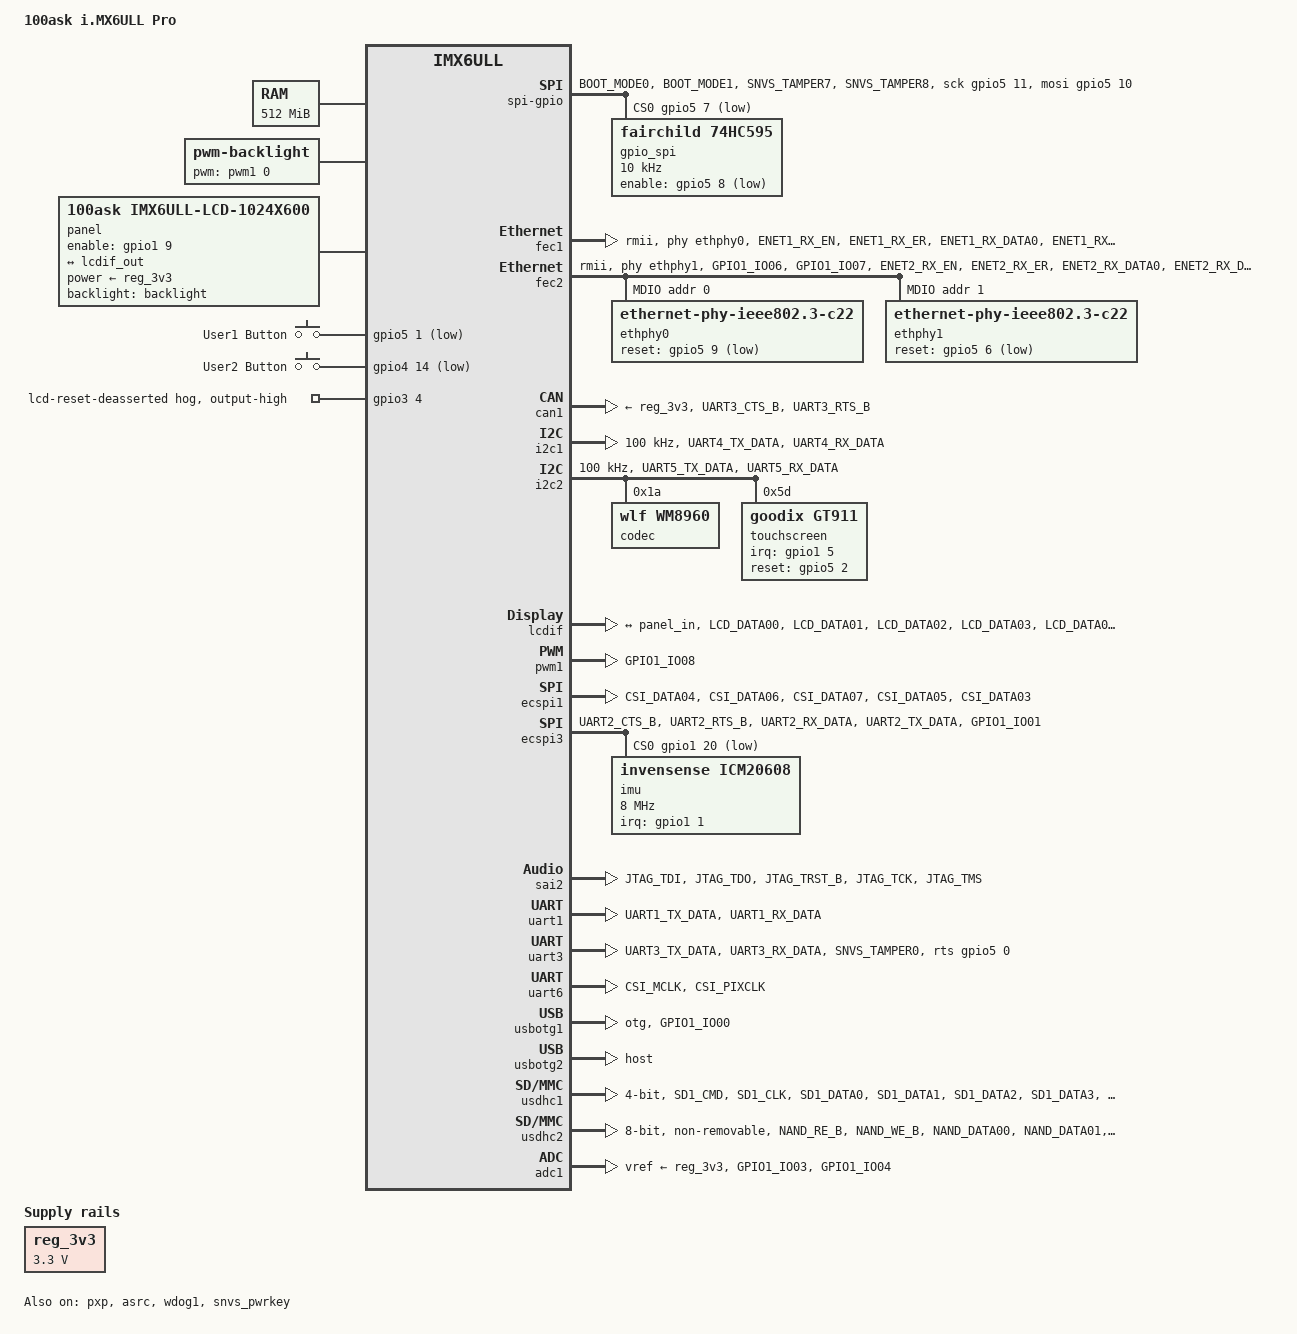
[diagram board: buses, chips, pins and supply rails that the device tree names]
// SPDX-License-Identifier: GPL-2.0-only
/dts-v1/;

#include "imx6ull.dtsi"

/ {
	model = "100ask i.MX6ULL Pro";
	compatible = "100ask,imx6ull-pro", "fsl,imx6ull";

	chosen {
		stdout-path = "serial0:1500000n8";
	};

	memory@80000000 {
		device_type = "memory";
		reg = <0x80000000 0x20000000>;
	};

	reg_3v3: regulator-3v3 {
		compatible = "regulator-fixed";
		regulator-name = "board-3v3";
		regulator-min-microvolt = <3300000>;
		regulator-max-microvolt = <3300000>;
		regulator-always-on;
	};

	backlight: backlight {
		compatible = "pwm-backlight";
		pwms = <&pwm1 0 1000 0>;
		brightness-levels = <0 1 2 3 4 5 6 8 10>;
		default-brightness-level = <8>;
	};

	/* Assembly identity; panel manufacturer/model is not yet known. */
	panel: panel {
		compatible = "100ask,imx6ull-lcd-1024x600", "panel-dpi";
		power-supply = <&reg_3v3>;
		backlight = <&backlight>;
		pinctrl-names = "default";
		pinctrl-0 = <&pinctrl_lcd_enable>;
		enable-gpios = <&gpio1 9 GPIO_ACTIVE_HIGH>;
		panel-timing {
			clock-frequency = <50000000>;
			hactive = <1024>;
			vactive = <600>;
			hfront-porch = <160>;
			hback-porch = <140>;
			hsync-len = <20>;
			vfront-porch = <12>;
			vback-porch = <20>;
			vsync-len = <3>;
			hsync-active = <0>;
			vsync-active = <0>;
			de-active = <1>;
			pixelclk-active = <0>;
		};
		port {
			panel_in: endpoint {
				remote-endpoint = <&lcdif_out>;
			};
		};
	};

	leds {
		compatible = "gpio-leds";
		pinctrl-names = "default";
		pinctrl-0 = <&pinctrl_leds>;
		/* Preserve the surveyed vendor policy. */
		status = "disabled";
		led-cpu {
			label = "cpu";
			gpios = <&gpio5 3 GPIO_ACTIVE_LOW>;
			linux,default-trigger = "heartbeat";
		};
	};

	gpio-keys {
		compatible = "gpio-keys";
		pinctrl-names = "default";
		pinctrl-0 = <&pinctrl_key1 &pinctrl_key2>;
		key-1 {
			label = "User1 Button";
			gpios = <&gpio5 1 GPIO_ACTIVE_LOW>;
			linux,code = <KEY_1>;
			wakeup-source;
		};
		key-2 {
			label = "User2 Button";
			gpios = <&gpio4 14 GPIO_ACTIVE_LOW>;
			linux,code = <KEY_2>;
			wakeup-source;
		};
	};

	sound {
		compatible = "fsl,imx-audio-wm8960";
		model = "100ask-wm8960";
		audio-cpu = <&sai2>;
		audio-codec = <&codec>;
		audio-asrc = <&asrc>;
		audio-routing =
		"Headphone Jack", "HP_L", "Headphone Jack", "HP_R",
		"Ext Spk", "SPK_LP", "Ext Spk", "SPK_LN",
		"Ext Spk", "SPK_RP", "Ext Spk", "SPK_RN",
		"LINPUT2", "Mic Jack", "LINPUT3", "Mic Jack",
		"RINPUT1", "Main MIC", "RINPUT2", "Main MIC",
		"Mic Jack", "MICB", "Main MIC", "MICB",
		"CPU-Playback", "ASRC-Playback",
		"Playback", "CPU-Playback",
		"ASRC-Capture", "CPU-Capture",
		"CPU-Capture", "Capture";
	};

	spi-gpio {
		compatible = "spi-gpio";
		pinctrl-names = "default";
		pinctrl-0 = <&pinctrl_spi4>;
		sck-gpios = <&gpio5 11 GPIO_ACTIVE_HIGH>;
		mosi-gpios = <&gpio5 10 GPIO_ACTIVE_HIGH>;
		cs-gpios = <&gpio5 7 GPIO_ACTIVE_LOW>;
		num-chipselects = <1>;
		#address-cells = <1>;
		#size-cells = <0>;
		gpio_spi: gpio@0 {
			compatible = "fairchild,74hc595";
			reg = <0>;
			gpio-controller;
			#gpio-cells = <2>;
			registers-number = <1>;
			lines-initial-states = <0x57>;
			enable-gpios = <&gpio5 8 GPIO_ACTIVE_LOW>;
			spi-max-frequency = <10000>;
		};
	};
};

&clks {
	assigned-clocks = <&clks IMX6UL_CLK_PLL4_AUDIO_DIV>;
	assigned-clock-rates = <786432000>;
};

&fec1 {
	pinctrl-names = "default";
	pinctrl-0 = <&pinctrl_enet1 &pinctrl_phy_reset1>;
	phy-mode = "rmii";
	phy-handle = <&ethphy0>;
	status = "okay";
};

&fec2 {
	pinctrl-names = "default";
	pinctrl-0 = <&pinctrl_enet2 &pinctrl_phy_reset2>;
	phy-mode = "rmii";
	phy-handle = <&ethphy1>;
	status = "okay";
	mdio {
		#address-cells = <1>;
		#size-cells = <0>;
		ethphy0: ethernet-phy@0 {
			compatible = "ethernet-phy-ieee802.3-c22";
			reg = <0>;
			reset-gpios = <&gpio5 9 GPIO_ACTIVE_LOW>;
			clocks = <&clks IMX6UL_CLK_ENET_REF>;
			clock-names = "rmii-ref";
			reset-assert-us = <26000>;
			smsc,disable-energy-detect;
		};
		ethphy1: ethernet-phy@1 {
			compatible = "ethernet-phy-ieee802.3-c22";
			reg = <1>;
			reset-gpios = <&gpio5 6 GPIO_ACTIVE_LOW>;
			clocks = <&clks IMX6UL_CLK_ENET2_REF>;
			clock-names = "rmii-ref";
			reset-assert-us = <26000>;
			smsc,disable-energy-detect;
		};
	};
};

&can1 {
	pinctrl-names = "default";
	pinctrl-0 = <&pinctrl_flexcan1>;
	xceiver-supply = <&reg_3v3>;
	status = "okay";
};

&i2c1 {
	clock-frequency = <100000>;
	pinctrl-names = "default";
	pinctrl-0 = <&pinctrl_i2c1>;
	status = "okay";
	/* AP3216C: no matching target driver/binding; see PORTING.md. */
};

&i2c2 {
	clock-frequency = <100000>;
	pinctrl-names = "default";
	pinctrl-0 = <&pinctrl_i2c2>;
	status = "okay";
	codec: audio-codec@1a {
		compatible = "wlf,wm8960";
		reg = <0x1a>;
		#sound-dai-cells = <0>;
		clocks = <&clks IMX6UL_CLK_SAI2>;
		clock-names = "mclk";
		wlf,shared-lrclk;
	};
	hdmi-bridge@39 {
		compatible = "sil,sii9022";
		reg = <0x39>;
		reset-gpios = <&gpio_spi 1 GPIO_ACTIVE_LOW>;
		interrupt-parent = <&gpio1>;
		interrupts = <18 IRQ_TYPE_EDGE_FALLING>;
		/* LCD is the selected mxsfb sink; HDMI graph is deferred. */
		status = "disabled";
	};
	touchscreen@5d {
		compatible = "goodix,gt911";
		reg = <0x5d>;
		pinctrl-names = "default";
		pinctrl-0 = <&pinctrl_touchscreen_int &pinctrl_tsc_reset>;
		interrupt-parent = <&gpio1>;
		interrupts = <5 IRQ_TYPE_EDGE_FALLING>;
		/* Goodix driver uses logical levels to select address 0x5d. */
		irq-gpios = <&gpio1 5 GPIO_ACTIVE_HIGH>;
		reset-gpios = <&gpio5 2 GPIO_ACTIVE_HIGH>;
		touchscreen-size-x = <1024>;
		touchscreen-size-y = <600>;
	};
};

&lcdif {
	assigned-clocks = <&clks IMX6UL_CLK_LCDIF_PRE_SEL>;
	assigned-clock-parents = <&clks IMX6UL_CLK_PLL5_VIDEO_DIV>;
	pinctrl-names = "default";
	pinctrl-0 = <&pinctrl_lcdif_dat &pinctrl_lcdif_ctrl>;
	status = "okay";
	port {
		lcdif_out: endpoint {
			remote-endpoint = <&panel_in>;
		};
	};
};

/* panel-simple does not implement reset-gpios: keep reset deasserted. */
&gpio3 {
	pinctrl-names = "default";
	pinctrl-0 = <&pinctrl_lcdif_reset>;
	lcd-reset-hog {
		gpio-hog;
		gpios = <4 GPIO_ACTIVE_HIGH>;
		output-high;
		line-name = "lcd-reset-deasserted";
	};
};

&pwm1 {
	pinctrl-names = "default";
	pinctrl-0 = <&pinctrl_pwm1>;
	status = "okay";
};

&pxp { status = "okay"; };
&asrc { status = "okay"; };

&ecspi1 {
	pinctrl-names = "default";
	pinctrl-0 = <&pinctrl_ecspi1>;
	cs-gpios = <&gpio4 26 GPIO_ACTIVE_LOW>, <&gpio4 24 GPIO_ACTIVE_LOW>;
	status = "okay";
};

&ecspi3 {
	pinctrl-names = "default";
	pinctrl-0 = <&pinctrl_ecspi3>;
	cs-gpios = <&gpio1 20 GPIO_ACTIVE_LOW>;
	status = "okay";
	imu@0 {
		compatible = "invensense,icm20608";
		reg = <0>;
		spi-max-frequency = <8000000>;
		interrupt-parent = <&gpio1>;
		interrupts = <1 IRQ_TYPE_EDGE_RISING>;
	};
};

&sai2 {
	pinctrl-names = "default";
	pinctrl-0 = <&pinctrl_sai2>;
	assigned-clocks = <&clks IMX6UL_CLK_SAI2_SEL>, <&clks IMX6UL_CLK_SAI2>;
	assigned-clock-parents = <&clks IMX6UL_CLK_PLL4_AUDIO_DIV>;
	assigned-clock-rates = <0>, <12288000>;
	fsl,sai-mclk-direction-output;
	status = "okay";
};

&tsc { status = "disabled"; };
&uart1 {
	pinctrl-names = "default";
	pinctrl-0 = <&pinctrl_uart1>;
	status = "okay";
};
&uart3 {
	pinctrl-names = "default";
	pinctrl-0 = <&pinctrl_uart3 &pinctrl_485_ctl>;
	rts-gpios = <&gpio5 0 GPIO_ACTIVE_HIGH>;
	linux,rs485-enabled-at-boot-time;
	rs485-rts-delay = <100 100>;
	status = "okay";
};
&uart6 {
	pinctrl-names = "default";
	pinctrl-0 = <&pinctrl_uart6>;
	status = "okay";
};

&usbotg1 {
	pinctrl-names = "default";
	pinctrl-0 = <&pinctrl_usb_id>;
	dr_mode = "otg";
	srp-disable;
	hnp-disable;
	adp-disable;
	status = "okay";
};
&usbotg2 {
	dr_mode = "host";
	disable-over-current;
	status = "okay";
};

&usdhc1 {
	pinctrl-names = "default";
	pinctrl-0 = <&pinctrl_usdhc1 &pinctrl_sd_cd>;
	cd-gpios = <&gpio1 19 GPIO_ACTIVE_LOW>;
	bus-width = <4>;
	keep-power-in-suspend;
	wakeup-source;
	status = "okay";
};
&usdhc2 {
	pinctrl-names = "default";
	pinctrl-0 = <&pinctrl_usdhc2_8bit>;
	bus-width = <8>;
	no-1-8-v;
	non-removable;
	status = "okay";
};

&wdog1 { status = "okay"; };
&adc1 {
	pinctrl-names = "default";
	pinctrl-0 = <&pinctrl_adc1>;
	vref-supply = <&reg_3v3>;
	status = "okay";
};
&snvs_poweroff { status = "okay"; };
&snvs_pwrkey { status = "okay"; };

&iomuxc {
	pinctrl_touchscreen_int: lcdif_tsc_int {
		fsl,pins = <
			MX6UL_PAD_GPIO1_IO05__GPIO1_IO05 0x000010B0
		>;
	};
	pinctrl_enet1: enet1grp {
		fsl,pins = <
			MX6UL_PAD_ENET1_RX_EN__ENET1_RX_EN  0x1b0b0
			MX6UL_PAD_ENET1_RX_ER__ENET1_RX_ER  0x1b0b0
			MX6UL_PAD_ENET1_RX_DATA0__ENET1_RDATA00 0x1b0b0
			MX6UL_PAD_ENET1_RX_DATA1__ENET1_RDATA01 0x1b0b0
			MX6UL_PAD_ENET1_TX_EN__ENET1_TX_EN  0x1b0b0
			MX6UL_PAD_ENET1_TX_DATA0__ENET1_TDATA00 0x1b0b0
			MX6UL_PAD_ENET1_TX_DATA1__ENET1_TDATA01 0x1b0b0
			MX6UL_PAD_ENET1_TX_CLK__ENET1_REF_CLK1  0x4001b031
		>;
	};
	pinctrl_enet2: enet2grp {
		fsl,pins = <
			MX6UL_PAD_GPIO1_IO06__ENET2_MDIO    0x1b0b0
			MX6UL_PAD_GPIO1_IO07__ENET2_MDC     0x1b0b0
			MX6UL_PAD_ENET2_RX_EN__ENET2_RX_EN  0x1b0b0
			MX6UL_PAD_ENET2_RX_ER__ENET2_RX_ER  0x1b0b0
			MX6UL_PAD_ENET2_RX_DATA0__ENET2_RDATA00 0x1b0b0
			MX6UL_PAD_ENET2_RX_DATA1__ENET2_RDATA01 0x1b0b0
			MX6UL_PAD_ENET2_TX_EN__ENET2_TX_EN  0x1b0b0
			MX6UL_PAD_ENET2_TX_DATA0__ENET2_TDATA00 0x1b0b0
			MX6UL_PAD_ENET2_TX_DATA1__ENET2_TDATA01 0x1b0b0
			MX6UL_PAD_ENET2_TX_CLK__ENET2_REF_CLK2  0x4001b031
		>;
	};

	pinctrl_flexcan1: flexcan1grp{
		fsl,pins = <
			MX6UL_PAD_UART3_CTS_B__FLEXCAN1_TX         0x000010B0
			MX6UL_PAD_UART3_RTS_B__FLEXCAN1_RX         0x000010B0
		>;
	};

	pinctrl_i2c1: i2c1grp {
		fsl,pins = <
			MX6UL_PAD_UART4_TX_DATA__I2C1_SCL 0x4001b8b0
			MX6UL_PAD_UART4_RX_DATA__I2C1_SDA 0x4001b8b0
		>;
	};

	pinctrl_i2c2: i2c2grp {
		fsl,pins = <
			MX6UL_PAD_UART5_TX_DATA__I2C2_SCL 0x4001b8b0
			MX6UL_PAD_UART5_RX_DATA__I2C2_SDA 0x4001b8b0
		>;
	};

	pinctrl_ecspi3: ecspi3 {
		fsl,pins = <
			MX6UL_PAD_UART2_CTS_B__ECSPI3_MOSI         0x000010B0
			MX6UL_PAD_UART2_RTS_B__ECSPI3_MISO         0x000010B0
			MX6UL_PAD_UART2_RX_DATA__ECSPI3_SCLK       0x000010B0
			MX6UL_PAD_UART2_TX_DATA__GPIO1_IO20        0x000010B0
			MX6UL_PAD_GPIO1_IO01__GPIO1_IO01           0x000010B0
		>;
	};

	pinctrl_ecspi1: ecspi1 {
		fsl,pins = <
			MX6UL_PAD_CSI_DATA04__ECSPI1_SCLK         0x000010B0
			MX6UL_PAD_CSI_DATA06__ECSPI1_MOSI         0x000010B0
			MX6UL_PAD_CSI_DATA07__ECSPI1_MISO         0x000010B0
			MX6UL_PAD_CSI_DATA05__GPIO4_IO26          0x000010B0
			MX6UL_PAD_CSI_DATA03__GPIO4_IO24          0x000010B0
		>;
	};

	pinctrl_uart3: uart3grp {
		fsl,pins = <
			MX6UL_PAD_UART3_TX_DATA__UART3_DCE_TX   0x1b0b1
			MX6UL_PAD_UART3_RX_DATA__UART3_DCE_RX   0x1b0b1
		>;
	};

	pinctrl_uart1: uart1grp {
		fsl,pins = <
			MX6UL_PAD_UART1_TX_DATA__UART1_DCE_TX 0x1b0b1
			MX6UL_PAD_UART1_RX_DATA__UART1_DCE_RX 0x1b0b1
		>;
	};

	pinctrl_uart6: uart6grp {
		fsl,pins = <
			MX6UL_PAD_CSI_MCLK__UART6_DCE_TX      0x1b0b1
			MX6UL_PAD_CSI_PIXCLK__UART6_DCE_RX    0x1b0b1
		>;
	};

	pinctrl_sai2: sai2grp {
		fsl,pins = <
			MX6UL_PAD_JTAG_TDI__SAI2_TX_BCLK    0x17088
			MX6UL_PAD_JTAG_TDO__SAI2_TX_SYNC    0x17088
			MX6UL_PAD_JTAG_TRST_B__SAI2_TX_DATA 0x11088
			MX6UL_PAD_JTAG_TCK__SAI2_RX_DATA    0x11088
			MX6UL_PAD_JTAG_TMS__SAI2_MCLK       0x17088
		>;
	};

	pinctrl_usdhc1: usdhc1grp {
		fsl,pins = <
			MX6UL_PAD_SD1_CMD__USDHC1_CMD     0x17059
			MX6UL_PAD_SD1_CLK__USDHC1_CLK     0x10071
			MX6UL_PAD_SD1_DATA0__USDHC1_DATA0 0x17059
			MX6UL_PAD_SD1_DATA1__USDHC1_DATA1 0x17059
			MX6UL_PAD_SD1_DATA2__USDHC1_DATA2 0x17059
			MX6UL_PAD_SD1_DATA3__USDHC1_DATA3 0x17059
		>;
	};

	pinctrl_usdhc2_8bit: usdhc2grp_8bit {
		fsl,pins = <
			MX6UL_PAD_NAND_RE_B__USDHC2_CLK     0x10069
			MX6UL_PAD_NAND_WE_B__USDHC2_CMD     0x17059
			MX6UL_PAD_NAND_DATA00__USDHC2_DATA0 0x17059
			MX6UL_PAD_NAND_DATA01__USDHC2_DATA1 0x17059
			MX6UL_PAD_NAND_DATA02__USDHC2_DATA2 0x17059
			MX6UL_PAD_NAND_DATA03__USDHC2_DATA3 0x17059
			MX6UL_PAD_NAND_DATA04__USDHC2_DATA4 0x17059
			MX6UL_PAD_NAND_DATA05__USDHC2_DATA5 0x17059
			MX6UL_PAD_NAND_DATA06__USDHC2_DATA6 0x17059
			MX6UL_PAD_NAND_DATA07__USDHC2_DATA7 0x17059
		>;
	};

	pinctrl_lcdif_dat: lcdifdatgrp {
		fsl,pins = <
			MX6UL_PAD_LCD_DATA00__LCDIF_DATA00  0x79
			MX6UL_PAD_LCD_DATA01__LCDIF_DATA01  0x79
			MX6UL_PAD_LCD_DATA02__LCDIF_DATA02  0x79
			MX6UL_PAD_LCD_DATA03__LCDIF_DATA03  0x79
			MX6UL_PAD_LCD_DATA04__LCDIF_DATA04  0x79
			MX6UL_PAD_LCD_DATA05__LCDIF_DATA05  0x79
			MX6UL_PAD_LCD_DATA06__LCDIF_DATA06  0x79
			MX6UL_PAD_LCD_DATA07__LCDIF_DATA07  0x79
			MX6UL_PAD_LCD_DATA08__LCDIF_DATA08  0x79
			MX6UL_PAD_LCD_DATA09__LCDIF_DATA09  0x79
			MX6UL_PAD_LCD_DATA10__LCDIF_DATA10  0x79
			MX6UL_PAD_LCD_DATA11__LCDIF_DATA11  0x79
			MX6UL_PAD_LCD_DATA12__LCDIF_DATA12  0x79
			MX6UL_PAD_LCD_DATA13__LCDIF_DATA13  0x79
			MX6UL_PAD_LCD_DATA14__LCDIF_DATA14  0x79
			MX6UL_PAD_LCD_DATA15__LCDIF_DATA15  0x79
			MX6UL_PAD_LCD_DATA16__LCDIF_DATA16  0x79
			MX6UL_PAD_LCD_DATA17__LCDIF_DATA17  0x79
			MX6UL_PAD_LCD_DATA18__LCDIF_DATA18  0x79
			MX6UL_PAD_LCD_DATA19__LCDIF_DATA19  0x79
			MX6UL_PAD_LCD_DATA20__LCDIF_DATA20  0x79
			MX6UL_PAD_LCD_DATA21__LCDIF_DATA21  0x79
			MX6UL_PAD_LCD_DATA22__LCDIF_DATA22  0x79
			MX6UL_PAD_LCD_DATA23__LCDIF_DATA23  0x79
		>;
	};

	pinctrl_lcdif_ctrl: lcdifctrlgrp {
		fsl,pins = <
			MX6UL_PAD_LCD_CLK__LCDIF_CLK        0x79
			MX6UL_PAD_LCD_ENABLE__LCDIF_ENABLE  0x79
			MX6UL_PAD_LCD_HSYNC__LCDIF_HSYNC    0x79
			MX6UL_PAD_LCD_VSYNC__LCDIF_VSYNC    0x79
		>;
	};

	pinctrl_pwm1: pwm1grp {
		fsl,pins = <
			MX6UL_PAD_GPIO1_IO08__PWM1_OUT   0x110b0
		>;
	};

	pinctrl_lcdif_reset: lcdifresetgrp {
		fsl,pins = <
			MX6UL_PAD_LCD_RESET__GPIO3_IO04     0x1b0b0
		>;
	};

	pinctrl_adc1: adc1grp {
		fsl,pins = <
			MX6UL_PAD_GPIO1_IO03__GPIO1_IO03          0x000010B1
			MX6UL_PAD_GPIO1_IO04__GPIO1_IO04          0x000010B1
		>;
	};
	pinctrl_sd_cd: sdcdgrp {
		fsl,pins = <MX6UL_PAD_UART1_RTS_B__GPIO1_IO19 0x17059>;
	};
	pinctrl_usb_id: usbidgrp {
		fsl,pins = <MX6UL_PAD_GPIO1_IO00__ANATOP_OTG1_ID 0x17059>;
	};
	pinctrl_key2: key2grp {
		fsl,pins = <MX6UL_PAD_NAND_CE1_B__GPIO4_IO14 0x17059>;
	};
	pinctrl_lcd_enable: lcdenablegrp {
		fsl,pins = <MX6UL_PAD_GPIO1_IO09__GPIO1_IO09 0x1b0b0>;
	};
};

&iomuxc_snvs {
	pinctrl_tsc_reset: tscresetgrp {
		fsl,pins = <
			MX6ULL_PAD_SNVS_TAMPER2__GPIO5_IO02        0x000110A0
		>;
	};

	pinctrl_spi4: spi4grp {
		fsl,pins = <
			MX6ULL_PAD_BOOT_MODE0__GPIO5_IO10        0x70a1
			MX6ULL_PAD_BOOT_MODE1__GPIO5_IO11        0x70a1
			MX6ULL_PAD_SNVS_TAMPER7__GPIO5_IO07      0x70a1
			MX6ULL_PAD_SNVS_TAMPER8__GPIO5_IO08      0x80000000
		>;
	};

	pinctrl_leds: ledgrp {
		fsl,pins = <
			MX6ULL_PAD_SNVS_TAMPER3__GPIO5_IO03        0x000110A0
		>;
	};

	pinctrl_485_ctl: uart3_rs485 {
		fsl,pins = <
			MX6ULL_PAD_SNVS_TAMPER0__GPIO5_IO00     0x1b0b0
		>;
	};
	pinctrl_phy_reset1: phyreset1grp {
		fsl,pins = <MX6ULL_PAD_SNVS_TAMPER9__GPIO5_IO09 0x1b0b0>;
	};
	pinctrl_phy_reset2: phyreset2grp {
		fsl,pins = <MX6ULL_PAD_SNVS_TAMPER6__GPIO5_IO06 0x1b0b0>;
	};
	pinctrl_key1: key1grp {
		fsl,pins = <MX6ULL_PAD_SNVS_TAMPER1__GPIO5_IO01 0x000110a0>;
	};
};
